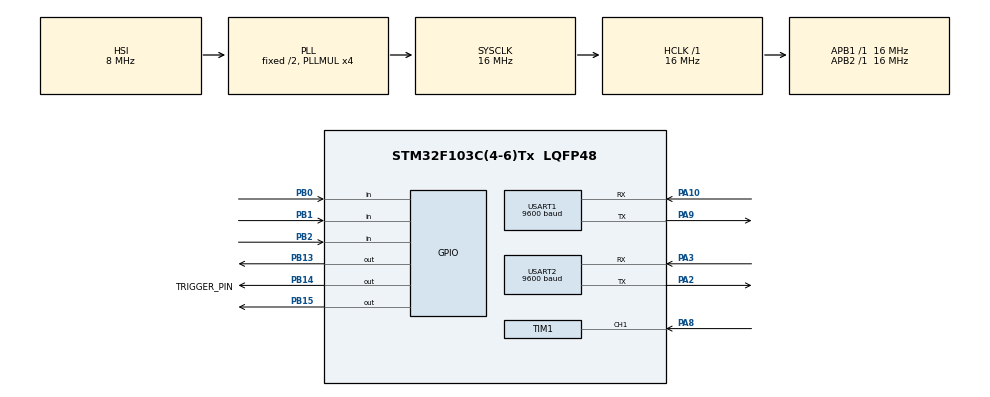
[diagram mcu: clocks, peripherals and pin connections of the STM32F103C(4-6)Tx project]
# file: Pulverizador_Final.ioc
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Dma.Request0=USART2_TX
Dma.USART2_TX.0.Direction=DMA_MEMORY_TO_PERIPH
Dma.USART2_TX.0.Instance=DMA1_Channel7
Dma.USART2_TX.0.MemDataAlignment=DMA_MDATAALIGN_BYTE
Dma.USART2_TX.0.MemInc=DMA_MINC_ENABLE
Dma.USART2_TX.0.Mode=DMA_CIRCULAR
Dma.USART2_TX.0.PeriphDataAlignment=DMA_PDATAALIGN_BYTE
Dma.USART2_TX.0.PeriphInc=DMA_PINC_DISABLE
Dma.USART2_TX.0.Priority=DMA_PRIORITY_LOW
Mcu.Family=STM32F1
Mcu.Name=STM32F103C(4-6)Tx
Mcu.Package=LQFP48
NVIC.DMA1_Channel7_IRQn=true\:0\:0\:false\:false\:true\:false\:true\:true
NVIC.PriorityGroup=NVIC_PRIORITYGROUP_4
NVIC.TIM1_CC_IRQn=true\:0\:0\:false\:false\:true\:true\:true\:true
NVIC.USART1_IRQn=true\:0\:0\:false\:false\:true\:true\:true\:true
PA10.Mode=Asynchronous
PA10.Signal=USART1_RX
PA2.Mode=Asynchronous
PA2.Signal=USART2_TX
PA3.Mode=Asynchronous
PA3.Signal=USART2_RX
PA8.GPIO_PuPd=GPIO_PULLDOWN
PA8.Signal=S_TIM1_CH1
PA9.Mode=Asynchronous
PA9.Signal=USART1_TX
PB0.Signal=GPIO_Input
PB1.Signal=GPIO_Input
PB13.Signal=GPIO_Output
PB14.GPIO_Label=TRIGGER_PIN
PB14.Signal=GPIO_Output
PB15.Signal=GPIO_Output
PB2.Signal=GPIO_Input
PD0-OSC_IN.Mode=HSE-External-Oscillator
PD0-OSC_IN.Signal=RCC_OSC_IN
PD1-OSC_OUT.Mode=HSE-External-Oscillator
PD1-OSC_OUT.Signal=RCC_OSC_OUT
ProjectManager.HeapSize=0x200
ProjectManager.StackSize=0x400
ProjectManager.TargetToolchain=STM32CubeIDE
RCC.AHBFreq_Value=16000000
RCC.APB1Freq_Value=16000000
RCC.APB1TimFreq_Value=16000000
RCC.APB2Freq_Value=16000000
RCC.APB2TimFreq_Value=16000000
RCC.HCLKFreq_Value=16000000
RCC.PLLMUL=RCC_PLL_MUL4
RCC.SYSCLKFreq_VALUE=16000000
RCC.SYSCLKSource=RCC_SYSCLKSOURCE_PLLCLK
RCC.USBFreq_Value=16000000
SH.S_TIM1_CH1.0=TIM1_CH1,Input_Capture1_from_TI1
TIM1.Channel-Input_Capture1_from_TI1=TIM_CHANNEL_1
TIM1.Prescaler=16-1
USART1.BaudRate=9600
USART1.VirtualMode=VM_ASYNC
USART2.BaudRate=9600
USART2.VirtualMode=VM_ASYNC
VP_SYS_VS_ND.Mode=No_Debug
board=custom

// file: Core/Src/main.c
/* USER CODE BEGIN Header */
/**
  ******************************************************************************
  * @file           : main.c
  * @brief          : Main program body
  ******************************************************************************
  * @attention
  *
  * Copyright (c) 2024 STMicroelectronics.
  * All rights reserved.
  *
  * This software is licensed under terms that can be found in the LICENSE file
  * in the root directory of this software component.
  * If no LICENSE file comes with this software, it is provided AS-IS.
  *
  ******************************************************************************
  */
/* USER CODE END Header */
#include "main.h"

/* USER CODE BEGIN Includes */
#include <stdio.h>
#include <string.h>
/* USER CODE END Includes */

TIM_HandleTypeDef htim1;

UART_HandleTypeDef huart1;
UART_HandleTypeDef huart2;
DMA_HandleTypeDef hdma_usart2_tx;

/* USER CODE BEGIN PV */

void delay (uint16_t time)
{
	__HAL_TIM_SET_COUNTER(&htim1, 0);
	while (__HAL_TIM_GET_COUNTER (&htim1) < time);
}

int HCSR04_Read1(void)
{
	HAL_GPIO_WritePin(TRIGGER_PIN_GPIO_Port, TRIGGER_PIN_Pin, GPIO_PIN_SET);  // pull the TRIG pin HIGH
	delay(10);  // wait for 10 us
	HAL_GPIO_WritePin(TRIGGER_PIN_GPIO_Port, TRIGGER_PIN_Pin, GPIO_PIN_RESET);  // pull the TRIG pin low
	delay(100); // wait for 100 us

    // Leitura do tempo de resposta
	__HAL_TIM_SET_COUNTER(&htim1, 0);
    uint32_t startTick = __HAL_TIM_GET_COUNTER (&htim1);
    int state = (HAL_GPIO_ReadPin(GPIOB, GPIO_PIN_0) == GPIO_PIN_RESET);
    while (state) {
    	state = HAL_GPIO_ReadPin(GPIOB, GPIO_PIN_0) == GPIO_PIN_RESET;

        if ((__HAL_TIM_GET_COUNTER (&htim1) - startTick) > 50000) {
            return -1;  // Timeout
        }
    }
    uint32_t startTime = __HAL_TIM_GET_COUNTER (&htim1);
    while (HAL_GPIO_ReadPin(GPIOB, GPIO_PIN_0) == GPIO_PIN_SET) {
        if ((__HAL_TIM_GET_COUNTER (&htim1) - startTime) > 50000) {
            return -1;  // Timeout
        }
    }
    uint32_t endTime = __HAL_TIM_GET_COUNTER (&htim1);
    uint32_t duration = endTime - startTime;
    // Calcula a distância
    int distance = (duration * 0.0343) / 2; // Velocidade do som = 34300 cm/s
    return distance;
}

#define TRIG_PORT_MEIO 	GPIOB
#define TRIG_PIN_MEIO	GPIO_PIN_15
#define ECHO_PORT_MEIO 	GPIOB
#define ECHO_PIN_MEIO	GPIO_PIN_1

int HCSR04_Read2(void)
{
	HAL_GPIO_WritePin(TRIG_PORT_MEIO, TRIG_PIN_MEIO, GPIO_PIN_SET);  // pull the TRIG pin HIGH
	delay(10);  // wait for 10 us
	HAL_GPIO_WritePin(TRIG_PORT_MEIO, TRIG_PIN_MEIO, GPIO_PIN_RESET);  // pull the TRIG pin low
	delay(100); // wait for 100 us

    // Leitura do tempo de resposta
	__HAL_TIM_SET_COUNTER(&htim1, 0);
    uint32_t startTick = __HAL_TIM_GET_COUNTER (&htim1);
    int state = (HAL_GPIO_ReadPin(ECHO_PORT_MEIO, ECHO_PIN_MEIO) == GPIO_PIN_RESET);
    while (state) {
    	state = HAL_GPIO_ReadPin(ECHO_PORT_MEIO, ECHO_PIN_MEIO) == GPIO_PIN_RESET;

        if ((__HAL_TIM_GET_COUNTER (&htim1) - startTick) > 50000) {
            return -1;  // Timeout
        }
    }
    uint32_t startTime = __HAL_TIM_GET_COUNTER (&htim1);
    while (HAL_GPIO_ReadPin(ECHO_PORT_MEIO, ECHO_PIN_MEIO) == GPIO_PIN_SET) {
        if ((__HAL_TIM_GET_COUNTER (&htim1) - startTime) > 50000) {
            return -1;  // Timeout
        }
    }
    uint32_t endTime = __HAL_TIM_GET_COUNTER(&htim1);
    uint32_t duration = endTime - startTime;
    // Calcula a distância
    int distance = (duration * 0.0343) / 2; // Velocidade do som = 34300 cm/s
    return distance;
}

#define TRIG_PORT_DIREITA 	GPIOB
#define TRIG_PIN_DIREITA	GPIO_PIN_13
#define ECHO_PORT_DIREITA 	GPIOB
#define ECHO_PIN_DIREITA	GPIO_PIN_2

int HCSR04_Read3(void)
{
	HAL_GPIO_WritePin(TRIG_PORT_DIREITA, TRIG_PIN_DIREITA, GPIO_PIN_SET);  // pull the TRIG pin HIGH
	delay(10);  // wait for 10 us
	HAL_GPIO_WritePin(TRIG_PORT_DIREITA, TRIG_PIN_DIREITA, GPIO_PIN_RESET);  // pull the TRIG pin low
	delay(100); // wait for 100 us

    // Leitura do tempo de resposta
	__HAL_TIM_SET_COUNTER(&htim1, 0);
    uint32_t startTick = __HAL_TIM_GET_COUNTER (&htim1);
    int state = (HAL_GPIO_ReadPin(ECHO_PORT_DIREITA, ECHO_PIN_DIREITA) == GPIO_PIN_RESET);
    while (state) {
    	state = HAL_GPIO_ReadPin(ECHO_PORT_DIREITA, ECHO_PIN_DIREITA) == GPIO_PIN_RESET;

        if ((__HAL_TIM_GET_COUNTER (&htim1) - startTick) > 50000) {
            return -1;  // Timeout
        }
    }
    uint32_t startTime = __HAL_TIM_GET_COUNTER (&htim1);
    while (HAL_GPIO_ReadPin(ECHO_PORT_DIREITA, ECHO_PIN_DIREITA) == GPIO_PIN_SET) {
        if ((__HAL_TIM_GET_COUNTER (&htim1) - startTime) > 50000) {
            return -1;  // Timeout
        }
    }
    uint32_t endTime = __HAL_TIM_GET_COUNTER(&htim1);
    uint32_t duration = endTime - startTime;
    // Calcula a distância
    int distance = (duration * 0.0343) / 2; // Velocidade do som = 34300 cm/s
    return distance;
}

/* USER CODE END PV */

void SystemClock_Config(void);
static void MX_GPIO_Init(void);
static void MX_DMA_Init(void);
static void MX_USART1_UART_Init(void);
static void MX_USART2_UART_Init(void);
static void MX_TIM1_Init(void);

int main(void)
{

  /* USER CODE BEGIN 1 */
	char MSG[40];
  /* USER CODE END 1 */

  /* MCU Configuration--------------------------------------------------------*/

  /* Reset of all peripherals, Initializes the Flash interface and the Systick. */
  HAL_Init();

  /* Configure the system clock */
  SystemClock_Config();

  /* Initialize all configured peripherals */
  MX_GPIO_Init();
  MX_DMA_Init();
  MX_USART1_UART_Init();
  MX_USART2_UART_Init();
  MX_TIM1_Init();
  /* USER CODE BEGIN 2 */
  int esquerda, meio, direita;

  HAL_TIM_Base_Start(&htim1);
  /* USER CODE END 2 */

  /* Infinite loop */
  while (1)
  {

    /* USER CODE BEGIN 3 */

	  esquerda = HCSR04_Read1();
	  meio = HCSR04_Read2();
	  direita = HCSR04_Read3();
	  //sprintf(MSG, "Distance1 : %d cm \r\n", Distance1);
	  //HAL_UART_Transmit(&huart1, (uint8_t*)MSG, sizeof(MSG), 100);
	  //HAL_Delay(500);
	  //sprintf(MSG, "Distance2 : %d cm \r\n", Distance2);
	  //HAL_UART_Transmit(&huart1, (uint8_t*)MSG, sizeof(MSG), 100);
	  //HAL_Delay(500);
	  //sprintf(MSG, "Distance3 : %d cm \r\n", Distance3);
	  //HAL_UART_Transmit(&huart1, (uint8_t*)MSG, sizeof(MSG), 100);
	  //HAL_Delay(500);

	  //sprintf(MSG, "%d,  %d,  %d  \r\n", esquerda, meio, direita);
	  //HAL_UART_Transmit(&huart1, (uint8_t*)MSG, strlen(MSG), 100);

	  if(esquerda - direita > 5){
		  sprintf(MSG, "Va para a esquerda \r\n");
		  HAL_UART_Transmit(&huart1, (uint8_t*)MSG, strlen(MSG), 100);
	  }
	  else if(direita - esquerda > 5){
		  sprintf(MSG, "Va para a direita \r\n");
		  HAL_UART_Transmit(&huart1, (uint8_t*)MSG, strlen(MSG), 100);
	  }

	  if(meio < 40){
		  sprintf(MSG, "Fim da rua \r\n");
		  HAL_UART_Transmit(&huart1, (uint8_t*)MSG, strlen(MSG), 100);
	  }
	  HAL_Delay(500);

  }
  /* USER CODE END 3 */
}

void SystemClock_Config(void)
{
  RCC_OscInitTypeDef RCC_OscInitStruct = {0};
  RCC_ClkInitTypeDef RCC_ClkInitStruct = {0};

  /** Initializes the RCC Oscillators according to the specified parameters
  * in the RCC_OscInitTypeDef structure.
  */
  RCC_OscInitStruct.OscillatorType = RCC_OSCILLATORTYPE_HSI;
  RCC_OscInitStruct.HSIState = RCC_HSI_ON;
  RCC_OscInitStruct.HSICalibrationValue = RCC_HSICALIBRATION_DEFAULT;
  RCC_OscInitStruct.PLL.PLLState = RCC_PLL_ON;
  RCC_OscInitStruct.PLL.PLLSource = RCC_PLLSOURCE_HSI_DIV2;
  RCC_OscInitStruct.PLL.PLLMUL = RCC_PLL_MUL4;
  if (HAL_RCC_OscConfig(&RCC_OscInitStruct) != HAL_OK)
  {
    Error_Handler();
  }

  /** Initializes the CPU, AHB and APB buses clocks
  */
  RCC_ClkInitStruct.ClockType = RCC_CLOCKTYPE_HCLK|RCC_CLOCKTYPE_SYSCLK
                              |RCC_CLOCKTYPE_PCLK1|RCC_CLOCKTYPE_PCLK2;
  RCC_ClkInitStruct.SYSCLKSource = RCC_SYSCLKSOURCE_PLLCLK;
  RCC_ClkInitStruct.AHBCLKDivider = RCC_SYSCLK_DIV1;
  RCC_ClkInitStruct.APB1CLKDivider = RCC_HCLK_DIV1;
  RCC_ClkInitStruct.APB2CLKDivider = RCC_HCLK_DIV1;

  if (HAL_RCC_ClockConfig(&RCC_ClkInitStruct, FLASH_LATENCY_0) != HAL_OK)
  {
    Error_Handler();
  }
}

static void MX_TIM1_Init(void)
{

  TIM_MasterConfigTypeDef sMasterConfig = {0};
  TIM_IC_InitTypeDef sConfigIC = {0};

  htim1.Instance = TIM1;
  htim1.Init.Prescaler = 16-1;
  htim1.Init.CounterMode = TIM_COUNTERMODE_UP;
  htim1.Init.Period = 65535;
  htim1.Init.ClockDivision = TIM_CLOCKDIVISION_DIV1;
  htim1.Init.RepetitionCounter = 0;
  htim1.Init.AutoReloadPreload = TIM_AUTORELOAD_PRELOAD_DISABLE;
  if (HAL_TIM_IC_Init(&htim1) != HAL_OK)
  {
    Error_Handler();
  }
  sMasterConfig.MasterOutputTrigger = TIM_TRGO_RESET;
  sMasterConfig.MasterSlaveMode = TIM_MASTERSLAVEMODE_DISABLE;
  if (HAL_TIMEx_MasterConfigSynchronization(&htim1, &sMasterConfig) != HAL_OK)
  {
    Error_Handler();
  }
  sConfigIC.ICPolarity = TIM_INPUTCHANNELPOLARITY_RISING;
  sConfigIC.ICSelection = TIM_ICSELECTION_DIRECTTI;
  sConfigIC.ICPrescaler = TIM_ICPSC_DIV1;
  sConfigIC.ICFilter = 0;
  if (HAL_TIM_IC_ConfigChannel(&htim1, &sConfigIC, TIM_CHANNEL_1) != HAL_OK)
  {
    Error_Handler();
  }

}

static void MX_USART1_UART_Init(void)
{

  huart1.Instance = USART1;
  huart1.Init.BaudRate = 9600;
  huart1.Init.WordLength = UART_WORDLENGTH_8B;
  huart1.Init.StopBits = UART_STOPBITS_1;
  huart1.Init.Parity = UART_PARITY_NONE;
  huart1.Init.Mode = UART_MODE_TX_RX;
  huart1.Init.HwFlowCtl = UART_HWCONTROL_NONE;
  huart1.Init.OverSampling = UART_OVERSAMPLING_16;
  if (HAL_UART_Init(&huart1) != HAL_OK)
  {
    Error_Handler();
  }

}

static void MX_USART2_UART_Init(void)
{

  huart2.Instance = USART2;
  huart2.Init.BaudRate = 9600;
  huart2.Init.WordLength = UART_WORDLENGTH_8B;
  huart2.Init.StopBits = UART_STOPBITS_1;
  huart2.Init.Parity = UART_PARITY_NONE;
  huart2.Init.Mode = UART_MODE_TX_RX;
  huart2.Init.HwFlowCtl = UART_HWCONTROL_NONE;
  huart2.Init.OverSampling = UART_OVERSAMPLING_16;
  if (HAL_UART_Init(&huart2) != HAL_OK)
  {
    Error_Handler();
  }

}

static void MX_DMA_Init(void)
{

  /* DMA controller clock enable */
  __HAL_RCC_DMA1_CLK_ENABLE();

  /* DMA interrupt init */
  /* DMA1_Channel7_IRQn interrupt configuration */
  HAL_NVIC_SetPriority(DMA1_Channel7_IRQn, 0, 0);
  HAL_NVIC_EnableIRQ(DMA1_Channel7_IRQn);

}

static void MX_GPIO_Init(void)
{
  GPIO_InitTypeDef GPIO_InitStruct = {0};

  /* GPIO Ports Clock Enable */
  __HAL_RCC_GPIOD_CLK_ENABLE();
  __HAL_RCC_GPIOA_CLK_ENABLE();
  __HAL_RCC_GPIOB_CLK_ENABLE();

  /*Configure GPIO pin Output Level */
  HAL_GPIO_WritePin(GPIOB, GPIO_PIN_13|TRIGGER_PIN_Pin|GPIO_PIN_15, GPIO_PIN_RESET);

  /*Configure GPIO pins : PB0 PB1 PB2 */
  GPIO_InitStruct.Pin = GPIO_PIN_0|GPIO_PIN_1|GPIO_PIN_2;
  GPIO_InitStruct.Mode = GPIO_MODE_INPUT;
  GPIO_InitStruct.Pull = GPIO_NOPULL;
  HAL_GPIO_Init(GPIOB, &GPIO_InitStruct);

  /*Configure GPIO pins : PB13 TRIGGER_PIN_Pin PB15 */
  GPIO_InitStruct.Pin = GPIO_PIN_13|TRIGGER_PIN_Pin|GPIO_PIN_15;
  GPIO_InitStruct.Mode = GPIO_MODE_OUTPUT_PP;
  GPIO_InitStruct.Pull = GPIO_NOPULL;
  GPIO_InitStruct.Speed = GPIO_SPEED_FREQ_LOW;
  HAL_GPIO_Init(GPIOB, &GPIO_InitStruct);

}

void Error_Handler(void)
{
  __disable_irq();
  while (1)
  {
  }
}
